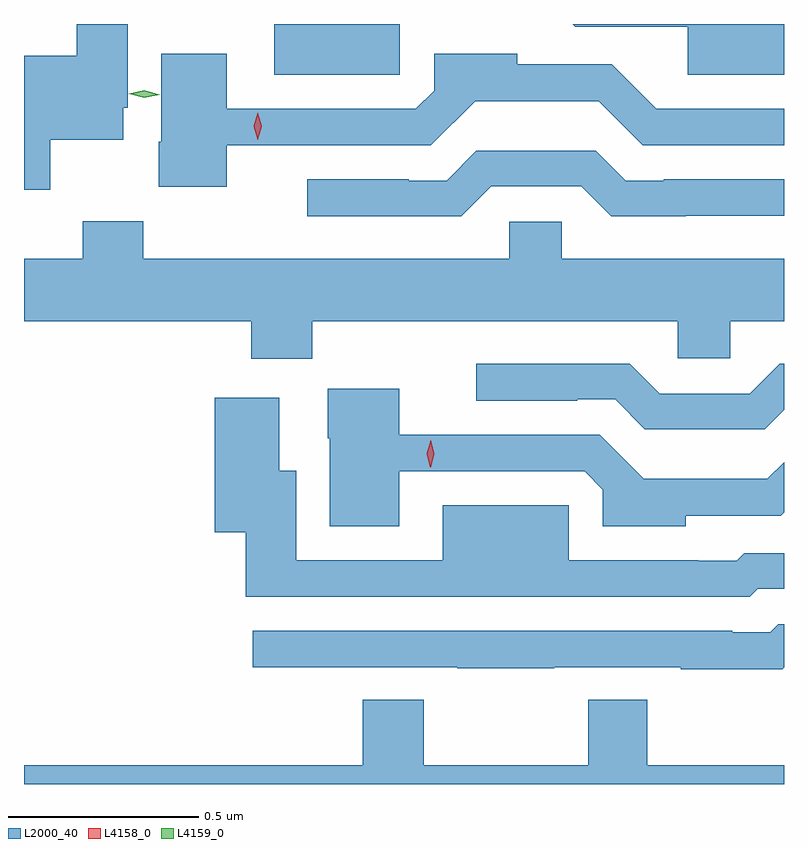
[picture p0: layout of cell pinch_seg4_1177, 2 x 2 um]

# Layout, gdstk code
import gdstk
lib = gdstk.Library(unit=1e-6, precision=1e-09)
def R(c, l, rs):  # rectangles x0, y0, x1, y1
    for r in rs: c.add(gdstk.rectangle(r[:2], r[2:], *l))
def P(c, l, *ps):  # polygons
    for p in ps: c.add(gdstk.Polygon(p, *l))
L2000_40 = (2000, 40)
L4158_0 = (4158, 0)
L4159_0 = (4159, 0)

pinch_seg4_1177 = lib.new_cell('pinch_seg4_1177')
R(pinch_seg4_1177, L2000_40, [(442.703,761.504,443.034,761.638)])
P(pinch_seg4_1177, L2000_40, [(442.114,761.333),(442.306,761.333),(442.306,761.418),(442.318,761.418),(442.318,761.638),(442.184,761.638),(442.184,761.554),(442.045,761.554),(442.045,761.202),(442.114,761.202)],
  [(444.045,761.638),(443.489,761.638),(443.496,761.631),(443.792,761.631),(443.792,761.504),(444.045,761.504)],
  [(442.579,761.319),(443.116,761.319),(443.232,761.435),(443.557,761.435),(443.673,761.319),(444.045,761.319),(444.045,761.415),(443.709,761.415),(443.592,761.532),(443.343,761.532),(443.343,761.56),(443.124,761.56),(443.124,761.463),(443.076,761.415),(442.579,761.415),(442.579,761.56),(442.406,761.56),(442.406,761.328),(442.4,761.328),(442.4,761.21),(442.579,761.21)],
  [(443.274,761.211),(443.511,761.211),(443.59,761.132),(443.786,761.132),(443.786,761.133),(444.045,761.133),(444.045,761.229),(443.728,761.229),(443.728,761.226),(443.628,761.226),(443.55,761.304),(443.235,761.304),(443.157,761.226),(443.057,761.226),(443.057,761.229),(442.791,761.229),(442.791,761.132),(443.195,761.132)],
  [(442.803,760.856),(443.766,760.856),(443.766,760.758),(443.904,760.758),(443.904,760.856),(444.045,760.856),(444.045,761.02),(443.46,761.02),(443.46,761.118),(443.322,761.118),(443.322,761.02),(442.359,761.02),(442.359,761.119),(442.199,761.119),(442.199,761.02),(442.045,761.02),(442.045,760.856),(442.643,760.856),(442.643,760.757),(442.803,760.757)],
  [(444.045,760.623),(444.045,760.744),(444.034,760.744),(443.955,760.665),(443.718,760.665),(443.639,760.744),(443.235,760.744),(443.235,760.647),(443.501,760.647),(443.501,760.65),(443.601,760.65),(443.679,760.572),(443.994,760.572)],
  [(443.032,760.461),(443.52,760.461),(443.568,760.413),(443.568,760.316),(443.787,760.316),(443.787,760.344),(444.036,760.344),(444.045,760.353),(444.045,760.485),(444.001,760.441),(443.676,760.441),(443.56,760.557),(443.032,760.557),(443.032,760.678),(442.844,760.678),(442.844,760.548),(442.85,760.548),(442.85,760.316),(443.032,760.316)],
  [(443.976,760.152),(444.045,760.152),(444.045,760.245),(443.94,760.245),(443.92,760.225),(443.819,760.225),(443.819,760.227),(443.478,760.227),(443.478,760.372),(443.147,760.372),(443.147,760.227),(442.762,760.227),(442.762,760.462),(442.717,760.462),(442.717,760.654),(442.547,760.654),(442.547,760.301),(442.628,760.301),(442.628,760.131),(443.955,760.131)],
  [(444.045,759.945),(444.045,760.059),(444.03,760.059),(444.009,760.038),(443.909,760.038),(443.909,760.041),(442.647,760.041),(442.647,759.945),(443.185,759.945),(443.185,759.943),(443.441,759.943),(443.441,759.945),(443.773,759.945),(443.773,759.94),(444.04,759.94)],
  [(444.045,759.688),(443.685,759.688),(443.685,759.86),(443.53,759.86),(443.53,759.688),(443.097,759.688),(443.097,759.86),(442.937,759.86),(442.937,759.688),(442.045,759.688),(442.045,759.638),(444.045,759.638)])
P(pinch_seg4_1177, L4158_0, [(443.114,760.472),(443.114,760.472),(443.105,760.507),(443.115,760.543),(443.115,760.543),(443.116,760.543),(443.125,760.507),(443.115,760.472)],
  [(442.66,761.333),(442.66,761.334),(442.65,761.369),(442.66,761.404),(442.66,761.404),(442.66,761.404),(442.67,761.369),(442.66,761.334)])
P(pinch_seg4_1177, L4159_0, [(442.361,761.444),(442.321,761.455),(442.321,761.455),(442.321,761.455),(442.362,761.464),(442.402,761.452),(442.402,761.452),(442.402,761.452)])

lib.write_gds('pinch_seg4_1177.gds')
